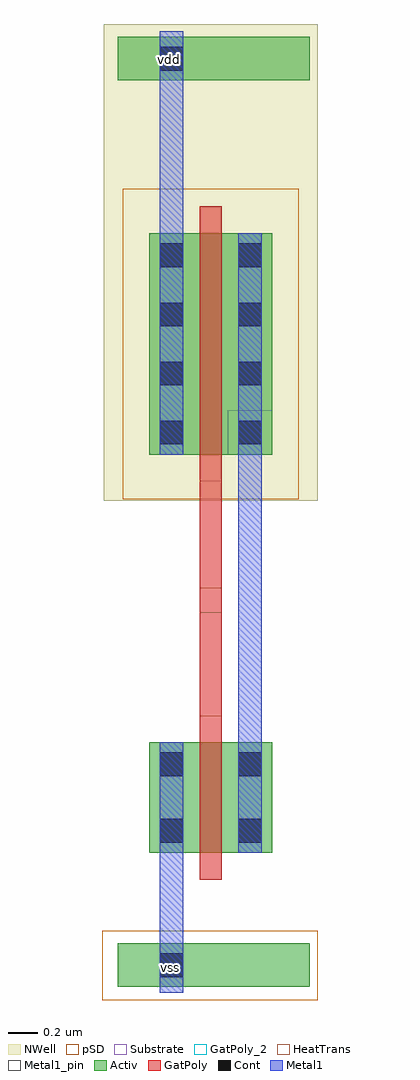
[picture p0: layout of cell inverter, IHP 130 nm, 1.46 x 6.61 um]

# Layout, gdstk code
import gdstk
lib = gdstk.Library(unit=1e-6, precision=5e-09)
def R(c, l, rs):  # rectangles x0, y0, x1, y1
    for r in rs: c.add(gdstk.rectangle(r[:2], r[2:], *l))
def A(c, l, x, y, w, h, nx, ny, dx, dy):  # array of equal rectangles
    R(c, l, [(x+i*dx, y+j*dy, x+i*dx+w, y+j*dy+h) for i in range(nx) for j in range(ny)])
Activ = (1, 0)
GatPoly = (5, 0)
GatPoly_2 = (5, 2)
Cont = (6, 0)
Metal1 = (8, 0)
Metal1_pin = (8, 2)
pSD = (14, 0)
NWell = (31, 0)
Substrate = (40, 0)
HeatTrans = (51, 0)

nmos = lib.new_cell('nmos')
R(nmos, Activ, [(0,0,0.3,0.3), (0,0,0.83,0.75), (0.53,0,0.83,0.3)])
R(nmos, GatPoly, [(0.34,-0.18,0.49,0.93)])
R(nmos, GatPoly_2, [(0.34,-0.18,0.49,0.93)])
R(nmos, Cont, [(0.07,0.07,0.23,0.23), (0.6,0.07,0.76,0.23), (0.07,0.52,0.23,0.68), (0.6,0.52,0.76,0.68)])
R(nmos, Metal1, [(0.07,0,0.23,0.75), (0.6,0,0.76,0.75)])
R(nmos, Metal1_pin, [(0.07,0,0.23,0.75), (0.6,0,0.76,0.75)])
R(nmos, HeatTrans, [(0.34,-0.18,0.49,0.93)])
nmos.add(gdstk.Label('nmos', (0.415,0.375), layer=63, texttype=0))
nmos.add(gdstk.Label('nmos', (0.415,0.375), layer=51, texttype=0))

pmos_1 = lib.new_cell('pmos$1')
R(pmos_1, Activ, [(0,0,0.3,0.3), (0,0,0.83,1.5), (0.53,0,0.83,0.3)])
R(pmos_1, GatPoly, [(0.34,-0.18,0.49,1.68), (0.34,-0.18,0.49,1.68)])
A(pmos_1, Cont, 0.07, 0.07, 0.16, 0.16, 1, 4, 0, 0.4)
A(pmos_1, Cont, 0.6, 0.07, 0.16, 0.16, 1, 4, 0, 0.4)
R(pmos_1, Metal1, [(0.07,0,0.23,1.5), (0.07,0,0.23,1.5), (0.6,0,0.76,1.5), (0.6,0,0.76,1.5)])
R(pmos_1, pSD, [(-0.18,-0.3,1.01,1.8)])
R(pmos_1, NWell, [(-0.31,-0.31,1.14,1.81)])
R(pmos_1, Substrate, [(0.53,0,0.83,0.3)])
R(pmos_1, HeatTrans, [(0.34,-0.18,0.49,1.68)])
pmos_1.add(gdstk.Label('pmos', (0.415,0.75), layer=63, texttype=0))
pmos_1.add(gdstk.Label('pmos', (0.415,0.75), layer=51, texttype=0))

inverter = lib.new_cell('inverter')
R(inverter, Activ, [(1.335,-3.135,2.635,-2.84), (1.335,3,2.635,3.295)])
R(inverter, GatPoly, [(1.89,-1.3,2.04,0.285)])
R(inverter, Cont, [(1.62,-3.07,1.78,-2.91), (1.62,1.735,1.78,1.895), (1.62,3.065,1.78,3.225)])
R(inverter, Metal1, [(1.62,-3.175,1.78,-2.23), (2.15,-1.48,2.31,0.465), (1.62,1.965,1.78,3.33)])
R(inverter, Metal1_pin, [(1.62,-3.07,1.78,-2.91), (1.89,-0.605,2.04,-0.435), (1.62,3.065,1.78,3.225)])
R(inverter, pSD, [(1.23,-3.225,2.69,-2.755)])
R(inverter, NWell, [(1.24,2.275,2.69,3.38)])
inverter.add(gdstk.Reference(nmos, (1.55,-2.23)))
inverter.add(gdstk.Reference(pmos_1, (1.55,0.465)))
inverter.add(gdstk.Label('vss', (1.69,-3.005), layer=8, texttype=2))
inverter.add(gdstk.Label('vdd', (1.685,3.14), layer=8, texttype=2))

lib.write_gds('inverter.gds')
